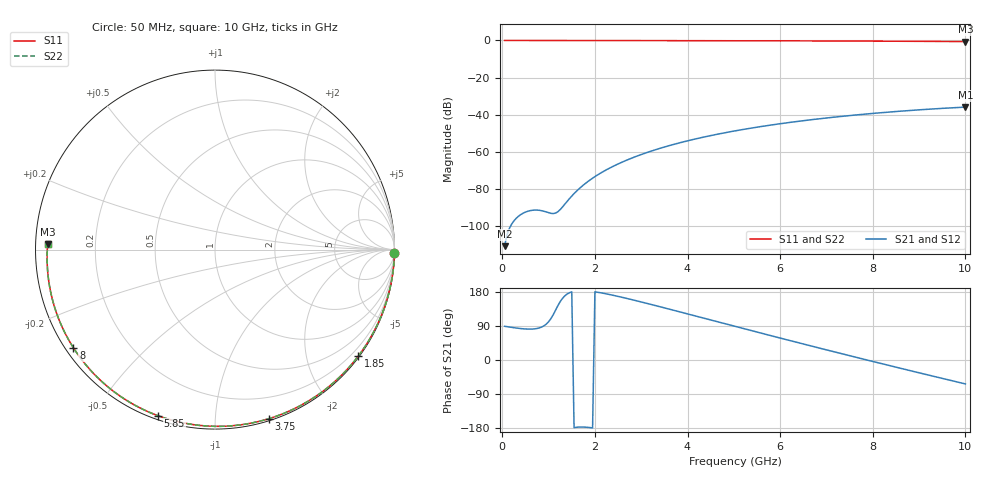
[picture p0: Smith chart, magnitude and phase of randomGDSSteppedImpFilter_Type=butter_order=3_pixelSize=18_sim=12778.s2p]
! freq	dB(S11)	phase(S11)	dB(S12)	phase(S12)
!  dB(S21)	phase(S21)	dB(S22)	phase(S22)
!S-par simulation data
#  GHz  S  DB  R 50
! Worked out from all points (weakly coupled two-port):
!   200 points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, 50 MHz to 10 GHz, reference 50 ohm
!   highest |S21| = -35.90 dB at 10 GHz (marker M1); lowest = -110.8 dB at 50 MHz (marker M2)
!   lowest |S11| = -0.6 dB at 10 GHz (marker M3), VSWR 28.73, Z = 1.74 + j0.833 ohm
!   |S11| at or under -10 dB: nowhere
!   |S22| runs from -0.6 to 0.0 dB; largest |S21 - S12| = 0
!   S11 on the Smith chart (normalised r, x): 50 MHz: open; 1.85 GHz: 0.03, -3.01; 3.75 GHz: 0.02, -1.37; 5.85 GHz: 0.02, -0.71; 8 GHz: 0.02, -0.31; 10 GHz: 0.03, +0.02
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0.05  -0.00 -1.0  -110.81 89.0  -110.81 89.0  -0.00 -1.0
0.45  -0.01 -9.1  -93.04 82.3  -93.04 82.3  -0.01 -9.1
0.85  -0.02 -17.1  -91.71 87.0  -91.71 87.0  -0.02 -17.1
1.25  -0.03 -25.0  -91.12 154.0  -91.12 154.0  -0.03 -25.0
1.65  -0.04 -32.8  -80.07 -177.0  -80.07 -177.0  -0.04 -32.8
1.75  -0.04 -34.8  -77.91 -176.9  -77.91 -176.9  -0.04 -34.8
1.85  -0.05 -36.7  -75.96 -177.7  -75.96 -177.7  -0.05 -36.7
2.15  -0.05 -42.5  -71.05 176.8  -71.05 176.8  -0.05 -42.5
2.5  -0.06 -49.2  -66.53 167.9  -66.53 167.9  -0.06 -49.2
2.9  -0.07 -56.7  -62.36 156.2  -62.36 156.2  -0.07 -56.7
3.4  -0.09 -65.9  -58.15 140.8  -58.15 140.8  -0.09 -65.9
3.75  -0.10 -72.3  -55.66 129.7  -55.66 129.7  -0.10 -72.3
4.4  -0.12 -83.9  -51.77 108.9  -51.77 108.9  -0.12 -83.9
5.05  -0.15 -95.2  -48.60 88.0  -48.60 88.0  -0.15 -95.2
5.85  -0.19 -108.9  -45.39 62.6  -45.39 62.6  -0.19 -108.9
6.7  -0.24 -123.2  -42.61 36.0  -42.61 36.0  -0.24 -123.2
7.35  -0.29 -134.2  -40.84 15.9  -40.84 15.9  -0.29 -134.2
8  -0.36 -145.3  -39.31 -3.9  -39.31 -3.9  -0.36 -145.3
8.35  -0.39 -151.3  -38.57 -14.4  -38.57 -14.4  -0.39 -151.3
9.2  -0.49 -166.6  -37.04 -39.7  -37.04 -39.7  -0.49 -166.6
9.6  -0.55 -174.1  -36.44 -51.5  -36.44 -51.5  -0.55 -174.1
10  -0.60 178.1  -35.90 -63.1  -35.90 -63.1  -0.60 178.1
